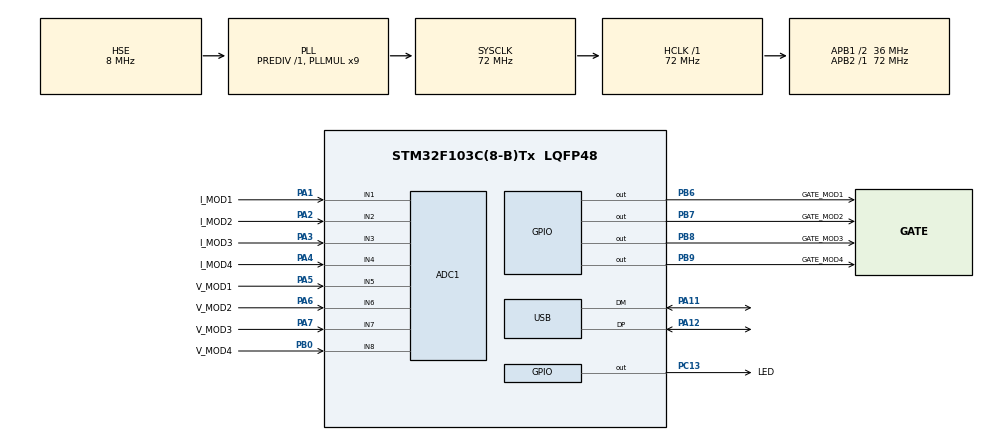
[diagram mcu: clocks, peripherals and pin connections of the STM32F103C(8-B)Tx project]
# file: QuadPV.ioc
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ADC1.Channel-0\#ChannelRegularConversion=ADC_CHANNEL_1
ADC1.Channel-1\#ChannelRegularConversion=ADC_CHANNEL_2
ADC1.Channel-2\#ChannelRegularConversion=ADC_CHANNEL_3
ADC1.Channel-3\#ChannelRegularConversion=ADC_CHANNEL_4
ADC1.Channel-4\#ChannelRegularConversion=ADC_CHANNEL_5
ADC1.Channel-5\#ChannelRegularConversion=ADC_CHANNEL_6
ADC1.Channel-6\#ChannelRegularConversion=ADC_CHANNEL_7
ADC1.Channel-7\#ChannelRegularConversion=ADC_CHANNEL_8
ADC1.Channel-8\#ChannelRegularConversion=ADC_CHANNEL_VREFINT
ADC1.ContinuousConvMode=DISABLE
ADC1.ExternalTrigConv=ADC_EXTERNALTRIGCONV_T3_TRGO
ADC1.NbrOfConversion=9
ADC1.NbrOfConversionFlag=1
ADC1.Rank-0\#ChannelRegularConversion=1
ADC1.Rank-1\#ChannelRegularConversion=2
ADC1.Rank-2\#ChannelRegularConversion=3
ADC1.Rank-3\#ChannelRegularConversion=4
ADC1.Rank-4\#ChannelRegularConversion=5
ADC1.Rank-5\#ChannelRegularConversion=6
ADC1.Rank-6\#ChannelRegularConversion=7
ADC1.Rank-7\#ChannelRegularConversion=8
ADC1.Rank-8\#ChannelRegularConversion=9
ADC1.SamplingTime-0\#ChannelRegularConversion=ADC_SAMPLETIME_71CYCLES_5
ADC1.SamplingTime-1\#ChannelRegularConversion=ADC_SAMPLETIME_71CYCLES_5
ADC1.SamplingTime-2\#ChannelRegularConversion=ADC_SAMPLETIME_71CYCLES_5
ADC1.SamplingTime-3\#ChannelRegularConversion=ADC_SAMPLETIME_71CYCLES_5
ADC1.SamplingTime-4\#ChannelRegularConversion=ADC_SAMPLETIME_71CYCLES_5
ADC1.SamplingTime-5\#ChannelRegularConversion=ADC_SAMPLETIME_71CYCLES_5
ADC1.SamplingTime-6\#ChannelRegularConversion=ADC_SAMPLETIME_71CYCLES_5
ADC1.SamplingTime-7\#ChannelRegularConversion=ADC_SAMPLETIME_71CYCLES_5
ADC1.SamplingTime-8\#ChannelRegularConversion=ADC_SAMPLETIME_239CYCLES_5
ADC1.ScanConvMode=ADC_SCAN_ENABLE
Dma.ADC1.0.Direction=DMA_PERIPH_TO_MEMORY
Dma.ADC1.0.Instance=DMA1_Channel1
Dma.ADC1.0.MemDataAlignment=DMA_MDATAALIGN_HALFWORD
Dma.ADC1.0.MemInc=DMA_MINC_ENABLE
Dma.ADC1.0.Mode=DMA_CIRCULAR
Dma.ADC1.0.PeriphDataAlignment=DMA_PDATAALIGN_HALFWORD
Dma.ADC1.0.PeriphInc=DMA_PINC_DISABLE
Dma.ADC1.0.Priority=DMA_PRIORITY_HIGH
Dma.Request0=ADC1
Mcu.Family=STM32F1
Mcu.Name=STM32F103C(8-B)Tx
Mcu.Package=LQFP48
NVIC.DMA1_Channel1_IRQn=true\:1\:0\:false\:false\:true\:false\:true\:true
NVIC.PriorityGroup=NVIC_PRIORITYGROUP_4
NVIC.USB_LP_CAN1_RX0_IRQn=true\:0\:0\:false\:false\:true\:false\:true\:true
PA1.GPIO_Label=I_MOD1
PA1.Mode=IN1
PA1.Signal=ADCx_IN1
PA11.Mode=Device
PA11.Signal=USB_DM
PA12.Mode=Device
PA12.Signal=USB_DP
PA13.Mode=Serial_Wire
PA13.Signal=SYS_JTMS-SWDIO
PA14.Mode=Serial_Wire
PA14.Signal=SYS_JTCK-SWCLK
PA2.GPIO_Label=I_MOD2
PA2.Mode=IN2
PA2.Signal=ADCx_IN2
PA3.GPIO_Label=I_MOD3
PA3.Mode=IN3
PA3.Signal=ADCx_IN3
PA4.GPIO_Label=I_MOD4
PA4.Mode=IN4
PA4.Signal=ADCx_IN4
PA5.GPIO_Label=V_MOD1
PA5.Mode=IN5
PA5.Signal=ADCx_IN5
PA6.GPIO_Label=V_MOD2
PA6.Mode=IN6
PA6.Signal=ADCx_IN6
PA7.GPIO_Label=V_MOD3
PA7.Mode=IN7
PA7.Signal=ADCx_IN7
PB0.GPIO_Label=V_MOD4
PB0.Mode=IN8
PB0.Signal=ADCx_IN8
PB6.GPIO_Label=GATE_MOD1
PB6.PinState=GPIO_PIN_RESET
PB6.Signal=GPIO_Output
PB7.GPIO_Label=GATE_MOD2
PB7.PinState=GPIO_PIN_RESET
PB7.Signal=GPIO_Output
PB8.GPIO_Label=GATE_MOD3
PB8.PinState=GPIO_PIN_RESET
PB8.Signal=GPIO_Output
PB9.GPIO_Label=GATE_MOD4
PB9.PinState=GPIO_PIN_RESET
PB9.Signal=GPIO_Output
PC13-TAMPER-RTC.GPIO_Label=LED
PC13-TAMPER-RTC.PinState=GPIO_PIN_SET
PC13-TAMPER-RTC.Signal=GPIO_Output
PD0-OSC_IN.Mode=HSE-External-Oscillator
PD0-OSC_IN.Signal=RCC_OSC_IN
PD1-OSC_OUT.Mode=HSE-External-Oscillator
PD1-OSC_OUT.Signal=RCC_OSC_OUT
ProjectManager.HeapSize=0x200
ProjectManager.StackSize=0x800
ProjectManager.TargetToolchain=STM32CubeIDE
RCC.ADCPresc=RCC_ADCPCLK2_DIV6
RCC.AHBFreq_Value=72000000
RCC.APB1CLKDivider=RCC_HCLK_DIV2
RCC.APB1Freq_Value=36000000
RCC.APB1TimFreq_Value=72000000
RCC.APB2Freq_Value=72000000
RCC.APB2TimFreq_Value=72000000
RCC.HCLKFreq_Value=72000000
RCC.PLLMUL=RCC_PLL_MUL9
RCC.PLLSourceVirtual=RCC_PLLSOURCE_HSE
RCC.SYSCLKFreq_VALUE=72000000
RCC.SYSCLKSource=RCC_SYSCLKSOURCE_PLLCLK
RCC.USBFreq_Value=48000000
RCC.USBPrescaler=RCC_USBCLKSOURCE_PLL_DIV1_5
SH.ADCx_IN1.0=ADC1_IN1,IN1
SH.ADCx_IN2.0=ADC1_IN2,IN2
SH.ADCx_IN3.0=ADC1_IN3,IN3
SH.ADCx_IN4.0=ADC1_IN4,IN4
SH.ADCx_IN5.0=ADC1_IN5,IN5
SH.ADCx_IN6.0=ADC1_IN6,IN6
SH.ADCx_IN7.0=ADC1_IN7,IN7
SH.ADCx_IN8.0=ADC1_IN8,IN8
TIM3.AutoReloadPreload=TIM_AUTORELOAD_PRELOAD_ENABLE
TIM3.Period=11999
TIM3.Prescaler=0
TIM3.TIM_MasterOutputTrigger=TIM_TRGO_UPDATE
USB_DEVICE.CLASS_NAME_FS=CDC
USB_DEVICE.MANUFACTURER_STRING=LCTM
USB_DEVICE.PID_CDC_FS=22336
USB_DEVICE.PRODUCT_STRING_CDC_FS=QuadPV
USB_DEVICE.VirtualMode=Cdc
USB_DEVICE.VirtualModeFS=Cdc_FS
VP_TIM3_VS_ClockSourceINT.Mode=Internal
VP_USB_DEVICE_VS_USB_DEVICE_CDC_FS.Mode=CDC_FS
board=custom

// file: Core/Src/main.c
/* USER CODE BEGIN Header */
/**
  ******************************************************************************
  * @file           : main.c
  * @brief          : QuadPV - Blue Pill STM32F103C8 (Isc e Voc de 4 módulos)
  *
  * Estrutura gerada pelo STM32CubeMX (QuadPV.ioc). A lógica do QuadPV fica em
  * quadpv.c; aqui só há a inicialização e as chamadas QPV_Init()/QPV_Loop()
  * dentro dos blocos USER CODE, que o CubeMX preserva ao regenerar.
  ******************************************************************************
  */
/* USER CODE END Header */
#include "main.h"
#include "usb_device.h"

/* USER CODE BEGIN Includes */
#include "quadpv.h"
/* USER CODE END Includes */

ADC_HandleTypeDef hadc1;
DMA_HandleTypeDef hdma_adc1;
TIM_HandleTypeDef htim3;

void SystemClock_Config(void);
static void MX_GPIO_Init(void);
static void MX_DMA_Init(void);
static void MX_ADC1_Init(void);
static void MX_TIM3_Init(void);

/* USER CODE BEGIN 0 */
/* Blue Pill: força o PC a reenumerar o USB depois de um reset (puxa D+ / PA12 para baixo). */
static void USB_ForceReenumeration(void)
{
  GPIO_InitTypeDef g = {0};
  __HAL_RCC_GPIOA_CLK_ENABLE();
  g.Pin = GPIO_PIN_12;
  g.Mode = GPIO_MODE_OUTPUT_PP;
  g.Pull = GPIO_NOPULL;
  g.Speed = GPIO_SPEED_FREQ_LOW;
  HAL_GPIO_Init(GPIOA, &g);
  HAL_GPIO_WritePin(GPIOA, GPIO_PIN_12, GPIO_PIN_RESET);
  HAL_Delay(15);
  HAL_GPIO_DeInit(GPIOA, GPIO_PIN_12);
}
/* USER CODE END 0 */

int main(void)
{
  HAL_Init();
  SystemClock_Config();

  /* USER CODE BEGIN SysInit */
  USB_ForceReenumeration();
  /* USER CODE END SysInit */

  MX_GPIO_Init();
  MX_DMA_Init();
  MX_ADC1_Init();
  MX_TIM3_Init();
  MX_USB_DEVICE_Init();

  /* USER CODE BEGIN 2 */
  QPV_Init();
  /* USER CODE END 2 */

  while (1)
  {
    /* USER CODE BEGIN 3 */
    QPV_Loop();
    /* USER CODE END 3 */
  }
}

/* 72 MHz a partir do cristal de 8 MHz; USB a 48 MHz (PLL / 1,5); ADC a 12 MHz (PCLK2 / 6). */
void SystemClock_Config(void)
{
  RCC_OscInitTypeDef RCC_OscInitStruct = {0};
  RCC_ClkInitTypeDef RCC_ClkInitStruct = {0};
  RCC_PeriphCLKInitTypeDef PeriphClkInit = {0};

  RCC_OscInitStruct.OscillatorType = RCC_OSCILLATORTYPE_HSE;
  RCC_OscInitStruct.HSEState = RCC_HSE_ON;
  RCC_OscInitStruct.HSEPredivValue = RCC_HSE_PREDIV_DIV1;
  RCC_OscInitStruct.HSIState = RCC_HSI_ON;
  RCC_OscInitStruct.PLL.PLLState = RCC_PLL_ON;
  RCC_OscInitStruct.PLL.PLLSource = RCC_PLLSOURCE_HSE;
  RCC_OscInitStruct.PLL.PLLMUL = RCC_PLL_MUL9;
  if (HAL_RCC_OscConfig(&RCC_OscInitStruct) != HAL_OK)
  {
    Error_Handler();
  }
  RCC_ClkInitStruct.ClockType = RCC_CLOCKTYPE_HCLK | RCC_CLOCKTYPE_SYSCLK
                              | RCC_CLOCKTYPE_PCLK1 | RCC_CLOCKTYPE_PCLK2;
  RCC_ClkInitStruct.SYSCLKSource = RCC_SYSCLKSOURCE_PLLCLK;
  RCC_ClkInitStruct.AHBCLKDivider = RCC_SYSCLK_DIV1;
  RCC_ClkInitStruct.APB1CLKDivider = RCC_HCLK_DIV2;
  RCC_ClkInitStruct.APB2CLKDivider = RCC_HCLK_DIV1;
  if (HAL_RCC_ClockConfig(&RCC_ClkInitStruct, FLASH_LATENCY_2) != HAL_OK)
  {
    Error_Handler();
  }
  PeriphClkInit.PeriphClockSelection = RCC_PERIPHCLK_ADC | RCC_PERIPHCLK_USB;
  PeriphClkInit.AdcClockSelection = RCC_ADCPCLK2_DIV6;
  PeriphClkInit.UsbClockSelection = RCC_USBCLKSOURCE_PLL_DIV1_5;
  if (HAL_RCCEx_PeriphCLKConfig(&PeriphClkInit) != HAL_OK)
  {
    Error_Handler();
  }
}

/* ADC1: 9 conversões por disparo do TIM3 (6 kHz):
 *   IN1..IN4 (PA1..PA4) = tensão nos shunts (corrente dos módulos 1..4)
 *   IN5..IN8 (PA5..PA7, PB0) = tensão dos módulos 1..4
 *   IN17 = Vrefint (1,20 V típico), para acompanhar a tensão de alimentação do ADC
 * 71,5 ciclos nos canais externos (fontes de baixa impedância: shunt e módulo) e 239,5 na
 * Vrefint (a ST pede >= 17,1 us). Uma varredura leva 924 ciclos = 77 us, menos que os 167 us
 * entre disparos. */
static void MX_ADC1_Init(void)
{
  static const uint32_t channels[9] = {
    ADC_CHANNEL_1, ADC_CHANNEL_2, ADC_CHANNEL_3, ADC_CHANNEL_4,
    ADC_CHANNEL_5, ADC_CHANNEL_6, ADC_CHANNEL_7, ADC_CHANNEL_8, ADC_CHANNEL_VREFINT
  };
  ADC_ChannelConfTypeDef sConfig = {0};

  hadc1.Instance = ADC1;
  hadc1.Init.ScanConvMode = ADC_SCAN_ENABLE;
  hadc1.Init.ContinuousConvMode = DISABLE;
  hadc1.Init.DiscontinuousConvMode = DISABLE;
  hadc1.Init.ExternalTrigConv = ADC_EXTERNALTRIGCONV_T3_TRGO;
  hadc1.Init.DataAlign = ADC_DATAALIGN_RIGHT;
  hadc1.Init.NbrOfConversion = 9;
  if (HAL_ADC_Init(&hadc1) != HAL_OK)
  {
    Error_Handler();
  }
  for (uint32_t i = 0; i < 9; i++)
  {
    sConfig.Channel = channels[i];
    sConfig.Rank = ADC_REGULAR_RANK_1 + i;
    sConfig.SamplingTime = (i == 8) ? ADC_SAMPLETIME_239CYCLES_5 : ADC_SAMPLETIME_71CYCLES_5;
    if (HAL_ADC_ConfigChannel(&hadc1, &sConfig) != HAL_OK)
    {
      Error_Handler();
    }
  }
}

/* TIM3: base de tempo do ADC. 72 MHz / 12000 = 6000 Hz exatos (cristal), TRGO na atualização.
 * 6000 varreduras = 1 s = 60 ciclos de 60 Hz: a média de cada segundo rejeita a rede elétrica
 * e as harmônicas (inclusive o piscar de 120 Hz das lâmpadas). */
static void MX_TIM3_Init(void)
{
  TIM_ClockConfigTypeDef sClockSourceConfig = {0};
  TIM_MasterConfigTypeDef sMasterConfig = {0};

  htim3.Instance = TIM3;
  htim3.Init.Prescaler = 0;
  htim3.Init.CounterMode = TIM_COUNTERMODE_UP;
  htim3.Init.Period = 12000 - 1;
  htim3.Init.ClockDivision = TIM_CLOCKDIVISION_DIV1;
  htim3.Init.AutoReloadPreload = TIM_AUTORELOAD_PRELOAD_ENABLE;
  if (HAL_TIM_Base_Init(&htim3) != HAL_OK)
  {
    Error_Handler();
  }
  sClockSourceConfig.ClockSource = TIM_CLOCKSOURCE_INTERNAL;
  if (HAL_TIM_ConfigClockSource(&htim3, &sClockSourceConfig) != HAL_OK)
  {
    Error_Handler();
  }
  sMasterConfig.MasterOutputTrigger = TIM_TRGO_UPDATE;
  sMasterConfig.MasterSlaveMode = TIM_MASTERSLAVEMODE_DISABLE;
  if (HAL_TIMEx_MasterConfigSynchronization(&htim3, &sMasterConfig) != HAL_OK)
  {
    Error_Handler();
  }
}

static void MX_DMA_Init(void)
{
  __HAL_RCC_DMA1_CLK_ENABLE();
  HAL_NVIC_SetPriority(DMA1_Channel1_IRQn, 1, 0);
  HAL_NVIC_EnableIRQ(DMA1_Channel1_IRQn);
}

static void MX_GPIO_Init(void)
{
  GPIO_InitTypeDef GPIO_InitStruct = {0};

  __HAL_RCC_GPIOC_CLK_ENABLE();
  __HAL_RCC_GPIOD_CLK_ENABLE();
  __HAL_RCC_GPIOA_CLK_ENABLE();
  __HAL_RCC_GPIOB_CLK_ENABLE();

  HAL_GPIO_WritePin(LED_GPIO_Port, LED_Pin, GPIO_PIN_SET);   /* LED da Blue Pill acende em nível baixo */
  GPIO_InitStruct.Pin = LED_Pin;
  GPIO_InitStruct.Mode = GPIO_MODE_OUTPUT_PP;
  GPIO_InitStruct.Pull = GPIO_NOPULL;
  GPIO_InitStruct.Speed = GPIO_SPEED_FREQ_LOW;
  HAL_GPIO_Init(LED_GPIO_Port, &GPIO_InitStruct);

  /* Gates dos MOSFETs (chaves): começam desligados (módulos em aberto) até o QPV_Init. */
  HAL_GPIO_WritePin(GATE_GPIO_Port, GATE_ALL_Pins, GPIO_PIN_RESET);
  GPIO_InitStruct.Pin = GATE_ALL_Pins;
  GPIO_InitStruct.Mode = GPIO_MODE_OUTPUT_PP;
  GPIO_InitStruct.Pull = GPIO_NOPULL;
  GPIO_InitStruct.Speed = GPIO_SPEED_FREQ_LOW;
  HAL_GPIO_Init(GATE_GPIO_Port, &GPIO_InitStruct);
}

void Error_Handler(void)
{
  __disable_irq();
  while (1)
  {
  }
}
